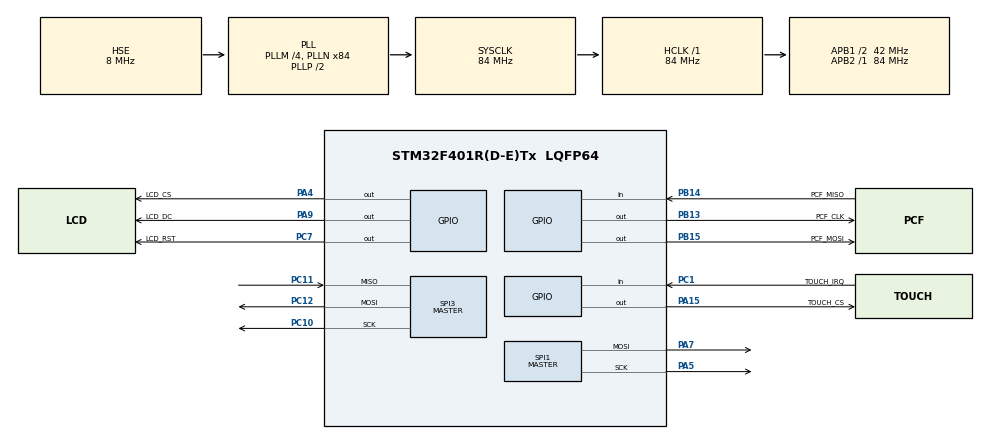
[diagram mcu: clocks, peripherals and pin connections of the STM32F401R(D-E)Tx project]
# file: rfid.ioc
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FREERTOS.Tasks01=defaultTask,24,128,StartDefaultTask,Default,NULL,Dynamic,NULL,NULL;RFIDTask,40,512,StartRFIDTask,Default,NULL,Dynamic,NULL,NULL;GUITask,24,1024,StartGUITask,Default,NULL,Dynamic,NULL,NULL
FREERTOS.configCHECK_FOR_STACK_OVERFLOW=2
FREERTOS.configTOTAL_HEAP_SIZE=12288
FREERTOS.configUSE_NEWLIB_REENTRANT=1
Mcu.Family=STM32F4
Mcu.Name=STM32F401R(D-E)Tx
Mcu.Package=LQFP64
NVIC.PriorityGroup=NVIC_PRIORITYGROUP_4
NVIC.TIM1_UP_TIM10_IRQn=true\:15\:0\:false\:false\:true\:false\:false\:true\:true
NVIC.TimeBase=TIM1_UP_TIM10_IRQn
NVIC.TimeBaseIP=TIM1
PA15.GPIO_Label=TOUCH_CS
PA15.Signal=GPIO_Output
PA4.GPIO_Label=LCD_CS
PA4.Signal=GPIO_Output
PA5.Mode=TX_Only_Simplex_Unidirect_Master
PA5.Signal=SPI1_SCK
PA7.Mode=TX_Only_Simplex_Unidirect_Master
PA7.Signal=SPI1_MOSI
PA9.GPIO_Label=LCD_DC
PA9.Signal=GPIO_Output
PB13.GPIO_Label=PCF_CLK
PB13.GPIO_ModeDefaultOutputPP=GPIO_MODE_OUTPUT_OD
PB13.GPIO_PuPd=GPIO_NOPULL
PB13.GPIO_Speed=GPIO_SPEED_FREQ_HIGH
PB13.Signal=GPIO_Output
PB14.GPIO_Label=PCF_MISO
PB14.Signal=GPIO_Input
PB15.GPIO_Label=PCF_MOSI
PB15.GPIO_ModeDefaultOutputPP=GPIO_MODE_OUTPUT_OD
PB15.GPIO_PuPd=GPIO_NOPULL
PB15.GPIO_Speed=GPIO_SPEED_FREQ_HIGH
PB15.Signal=GPIO_Output
PC1.GPIO_Label=TOUCH_IRQ
PC1.Signal=GPIO_Input
PC10.Mode=Full_Duplex_Master
PC10.Signal=SPI3_SCK
PC11.Mode=Full_Duplex_Master
PC11.Signal=SPI3_MISO
PC12.Mode=Full_Duplex_Master
PC12.Signal=SPI3_MOSI
PC7.GPIO_Label=LCD_RST
PC7.Signal=GPIO_Output
PH0\ -\ OSC_IN.Mode=HSE-External-Oscillator
PH0\ -\ OSC_IN.Signal=RCC_OSC_IN
PH1\ -\ OSC_OUT.Mode=HSE-External-Oscillator
PH1\ -\ OSC_OUT.Signal=RCC_OSC_OUT
ProjectManager.HeapSize=0x200
ProjectManager.StackSize=0x400
ProjectManager.TargetToolchain=STM32CubeIDE
RCC.48MHZClocksFreq_Value=24000000
RCC.AHBFreq_Value=84000000
RCC.APB1CLKDivider=RCC_HCLK_DIV2
RCC.APB1Freq_Value=42000000
RCC.APB1TimFreq_Value=84000000
RCC.APB2Freq_Value=84000000
RCC.APB2TimFreq_Value=84000000
RCC.CortexFreq_Value=84000000
RCC.HCLKFreq_Value=84000000
RCC.HSE_VALUE=8000000
RCC.HSI_VALUE=16000000
RCC.LSE_VALUE=32768
RCC.PLLM=4
RCC.PLLN=84
RCC.PLLQ=7
RCC.PLLSourceVirtual=RCC_PLLSOURCE_HSE
RCC.SYSCLKFreq_VALUE=84000000
RCC.SYSCLKSource=RCC_SYSCLKSOURCE_PLLCLK
RCC.VCOOutputFreq_Value=168000000
SPI1.BaudRatePrescaler=SPI_BAUDRATEPRESCALER_2
SPI1.Direction=SPI_DIRECTION_2LINES
SPI1.Mode=SPI_MODE_MASTER
SPI1.VirtualType=VM_MASTER
SPI3.BaudRatePrescaler=SPI_BAUDRATEPRESCALER_16
SPI3.Direction=SPI_DIRECTION_2LINES
SPI3.Mode=SPI_MODE_MASTER
SPI3.VirtualType=VM_MASTER
VP_FREERTOS_VS_CMSIS_V2.Mode=CMSIS_V2
VP_SYS_VS_tim1.Mode=TIM1
board=NUCLEO-F401RE

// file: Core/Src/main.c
/* USER CODE BEGIN Header */
/**
  ******************************************************************************
  * @file           : main.c
  * @brief          : Main program body
  ******************************************************************************
  * @attention
  *
  * Copyright (c) 2025 STMicroelectronics.
  * All rights reserved.
  *
  * This software is licensed under terms that can be found in the LICENSE file
  * in the root directory of this software component.
  * If no LICENSE file comes with this software, it is provided AS-IS.
  *
  ******************00************************************************************
  */
/* USER CODE END Header */
#include "main.h"
#include "cmsis_os.h"
#include "spi.h"
#include "gpio.h"

void SystemClock_Config(void);
void MX_FREERTOS_Init(void);

int main(void)
{

  /* MCU Configuration--------------------------------------------------------*/

  /* Reset of all peripherals, Initializes the Flash interface and the Systick. */
  HAL_Init();

  /* Configure the system clock */
  SystemClock_Config();

  /* Initialize all configured peripherals */
  MX_GPIO_Init();
  MX_SPI1_Init();
  MX_SPI3_Init();

  /* Init scheduler */
  osKernelInitialize();

  /* Call init function for freertos objects (in cmsis_os2.c) */
  MX_FREERTOS_Init();

  /* Start scheduler */
  osKernelStart();

  /* We should never get here as control is now taken by the scheduler */

  /* Infinite loop */
  while (1)
  {

  }
}

void SystemClock_Config(void)
{
  RCC_OscInitTypeDef RCC_OscInitStruct = {0};
  RCC_ClkInitTypeDef RCC_ClkInitStruct = {0};

  /** Configure the main internal regulator output voltage
  */
  __HAL_RCC_PWR_CLK_ENABLE();
  __HAL_PWR_VOLTAGESCALING_CONFIG(PWR_REGULATOR_VOLTAGE_SCALE2);

  /** Initializes the RCC Oscillators according to the specified parameters
  * in the RCC_OscInitTypeDef structure.
  */
  RCC_OscInitStruct.OscillatorType = RCC_OSCILLATORTYPE_HSE;
  RCC_OscInitStruct.HSEState = RCC_HSE_ON;
  RCC_OscInitStruct.PLL.PLLState = RCC_PLL_ON;
  RCC_OscInitStruct.PLL.PLLSource = RCC_PLLSOURCE_HSE;
  RCC_OscInitStruct.PLL.PLLM = 4;
  RCC_OscInitStruct.PLL.PLLN = 84;
  RCC_OscInitStruct.PLL.PLLP = RCC_PLLP_DIV2;
  RCC_OscInitStruct.PLL.PLLQ = 7;
  if (HAL_RCC_OscConfig(&RCC_OscInitStruct) != HAL_OK)
  {
    Error_Handler();
  }

  /** Initializes the CPU, AHB and APB buses clocks
  */
  RCC_ClkInitStruct.ClockType = RCC_CLOCKTYPE_HCLK|RCC_CLOCKTYPE_SYSCLK
                              |RCC_CLOCKTYPE_PCLK1|RCC_CLOCKTYPE_PCLK2;
  RCC_ClkInitStruct.SYSCLKSource = RCC_SYSCLKSOURCE_PLLCLK;
  RCC_ClkInitStruct.AHBCLKDivider = RCC_SYSCLK_DIV1;
  RCC_ClkInitStruct.APB1CLKDivider = RCC_HCLK_DIV2;
  RCC_ClkInitStruct.APB2CLKDivider = RCC_HCLK_DIV1;

  if (HAL_RCC_ClockConfig(&RCC_ClkInitStruct, FLASH_LATENCY_2) != HAL_OK)
  {
    Error_Handler();
  }
}

void HAL_TIM_PeriodElapsedCallback(TIM_HandleTypeDef *htim)
{
  if (htim->Instance == TIM1) {
    HAL_IncTick();
  }
}

void Error_Handler(void)
{
  __disable_irq();
  while (1)
  {
  }
}

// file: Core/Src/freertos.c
/* USER CODE BEGIN Header */
/**
  ******************************************************************************
  * File Name          : freertos.c
  * Description        : Code for freertos applications
  ******************************************************************************
  * @attention
  *
  * Copyright (c) 2026 STMicroelectronics.
  * All rights reserved.
  *
  * This software is licensed under terms that can be found in the LICENSE file
  * in the root directory of this software component.
  * If no LICENSE file comes with this software, it is provided AS-IS.
  *
  ******************************************************************************
  */
/* USER CODE END Header */

#include "FreeRTOS.h"
#include "task.h"
#include "main.h"
#include "cmsis_os.h"

/* USER CODE BEGIN Includes */
#include <stdio.h>
#include "ili9341.h"
#include "pcf7991at.h"
#include "fonts.h"
#include "touch.h"
#include "ui.h"
/* USER CODE END Includes */

/* Definitions for defaultTask */
osThreadId_t defaultTaskHandle;
const osThreadAttr_t defaultTask_attributes = {
  .name = "defaultTask",
  .stack_size = 128 * 4,
  .priority = (osPriority_t) osPriorityNormal,
};
/* Definitions for RFIDTask */
osThreadId_t RFIDTaskHandle;
const osThreadAttr_t RFIDTask_attributes = {
  .name = "RFIDTask",
  .stack_size = 512 * 4,
  .priority = (osPriority_t) osPriorityHigh,
};
/* Definitions for GUITask */
osThreadId_t GUITaskHandle;
const osThreadAttr_t GUITask_attributes = {
  .name = "GUITask",
  .stack_size = 1024 * 4,
  .priority = (osPriority_t) osPriorityNormal,
};

void StartDefaultTask(void *argument);
void StartRFIDTask(void *argument);
void StartGUITask(void *argument);

void MX_FREERTOS_Init(void); /* (MISRA C 2004 rule 8.1) */

/* Hook prototypes */
void vApplicationStackOverflowHook(xTaskHandle xTask, signed char *pcTaskName);

/* USER CODE BEGIN 4 */
void vApplicationStackOverflowHook(xTaskHandle xTask, signed char *pcTaskName)
{
   /* Run time stack overflow checking is performed if
   configCHECK_FOR_STACK_OVERFLOW is defined to 1 or 2. This hook function is
   called if a stack overflow is detected. */
	LCD_FillColor(RED);
	LCD_WriteString("STACK OVERFLOW:", 10, 10, Font_7x10, WHITE, RED);
	LCD_WriteString(pcTaskName, 10, 30, Font_7x10, WHITE, RED);
	while(1){}
}
/* USER CODE END 4 */

void MX_FREERTOS_Init(void) {

  /* Create the thread(s) */
  /* creation of defaultTask */
  defaultTaskHandle = osThreadNew(StartDefaultTask, NULL, &defaultTask_attributes);

  /* creation of RFIDTask */
  RFIDTaskHandle = osThreadNew(StartRFIDTask, NULL, &RFIDTask_attributes);

  /* creation of GUITask */
  GUITaskHandle = osThreadNew(StartGUITask, NULL, &GUITask_attributes);

}

void StartDefaultTask(void *argument)
{
  for(;;)
  {
    osDelay(1);
  }
}

void StartRFIDTask(void *argument)
{
  /* USER CODE BEGIN StartRFIDTask */
	RFID_Init();
  /* Infinite loop */
  for(;;)
  {
    osDelay(1);
  }
  /* USER CODE END StartRFIDTask */
}

void StartGUITask(void *argument)
{
  /* USER CODE BEGIN StartGUITask */
	UI_Init();
	UI_Draw_Boot_Sequence();
	uint16_t px, py;
	uint32_t recovery_timer = 0;
  /* Infinite loop */
  for(;;)
  {
	  // 1. Draw UI (if changed)
		UI_Refresh();

		// 2. Animate elements (if needed)
		// RFID logic (Listening/Emulating) is handled inside here now
		UI_Update_Dynamic_Elements();

		// 3. Handle Input
		if (Touch_GetPixels(&px, &py)) {
			UI_Handle_Touch(px, py);
			osDelay(50); // Small debounce for page switching
		}

		// --- SCREEN RECOVERY LOGIC ---
		// If IRQ is LOW (screen touched/active)
		if (HAL_GPIO_ReadPin(TOUCH_IRQ_GPIO_Port, TOUCH_IRQ_Pin) == GPIO_PIN_RESET) {
			if (recovery_timer == 0) recovery_timer = HAL_GetTick();

			// If held for 3 seconds
			if (HAL_GetTick() - recovery_timer > 3000) {
				LCD_QuickWake();      // Restore LCD registers & 180 deg turn
				ui_needs_update = 1;  // Force redraw of the current page
				recovery_timer = 0;   // Reset timer
			}
		} else {
			recovery_timer = 0; // Reset if released
		}
    osDelay(1);
  }
  /* USER CODE END StartGUITask */
}
